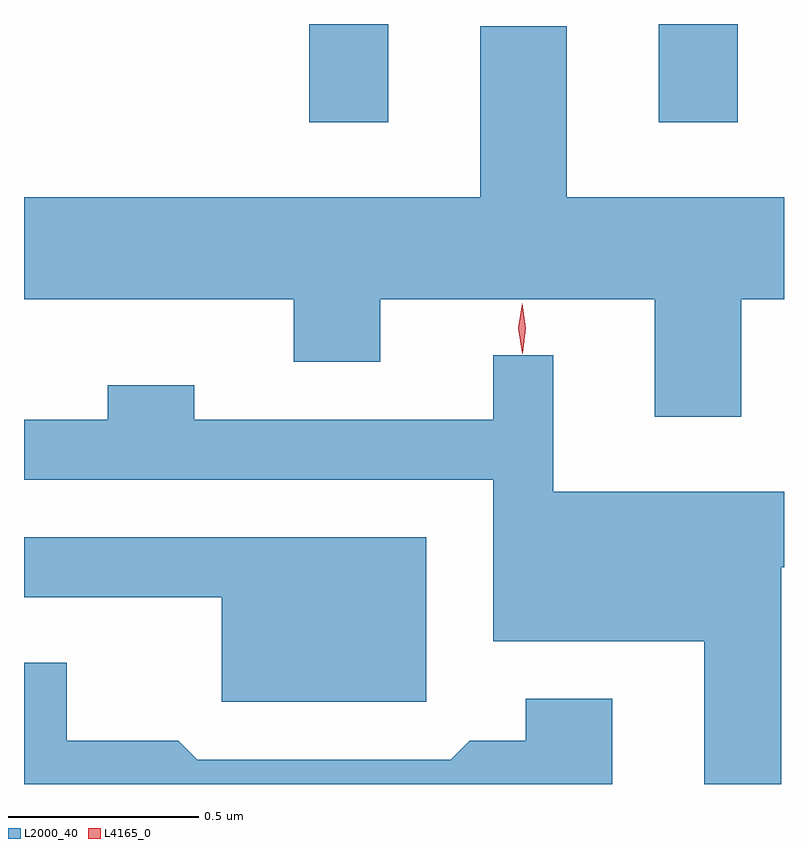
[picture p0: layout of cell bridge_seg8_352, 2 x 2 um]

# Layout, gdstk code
import gdstk
lib = gdstk.Library(unit=1e-6, precision=1e-09)
def R(c, l, rs):  # rectangles x0, y0, x1, y1
    for r in rs: c.add(gdstk.rectangle(r[:2], r[2:], *l))
def P(c, l, *ps):  # polygons
    for p in ps: c.add(gdstk.Polygon(p, *l))
L2000_40 = (2000, 40)
L4165_0 = (4165, 0)

bridge_seg8_352 = lib.new_cell('bridge_seg8_352')
R(bridge_seg8_352, L2000_40, [(707.461,1919.021,707.669,1919.28), (708.381,1919.021,708.589,1919.28)])
P(bridge_seg8_352, L2000_40, [(708.599,1918.556),(708.711,1918.556),(708.711,1918.824),(708.139,1918.824),(708.139,1919.274),(707.911,1919.274),(707.911,1918.824),(706.711,1918.824),(706.711,1918.556),(707.421,1918.556),(707.421,1918.391),(707.649,1918.391),(707.649,1918.556),(708.371,1918.556),(708.371,1918.246),(708.599,1918.246)],
  [(708.704,1917.851),(708.711,1917.851),(708.711,1918.049),(708.104,1918.049),(708.104,1918.408),(707.946,1918.408),(707.946,1918.239),(707.159,1918.239),(707.159,1918.329),(706.931,1918.329),(706.931,1918.239),(706.711,1918.239),(706.711,1918.081),(707.946,1918.081),(707.946,1917.656),(708.501,1917.656),(708.501,1917.28),(708.704,1917.28)],
  [(707.769,1917.929),(706.711,1917.929),(706.711,1917.771),(707.231,1917.771),(707.231,1917.496),(707.769,1917.496)],
  [(708.259,1917.504),(708.031,1917.504),(708.031,1917.394),(707.884,1917.394),(707.834,1917.344),(707.167,1917.344),(707.117,1917.394),(706.824,1917.394),(706.824,1917.599),(706.711,1917.599),(706.711,1917.28),(708.259,1917.28)])
P(bridge_seg8_352, L4165_0, [(708.022,1918.412),(708.022,1918.413),(708.012,1918.479),(708.022,1918.545),(708.022,1918.545),(708.022,1918.545),(708.032,1918.479),(708.023,1918.413)])

lib.write_gds('bridge_seg8_352.gds')
